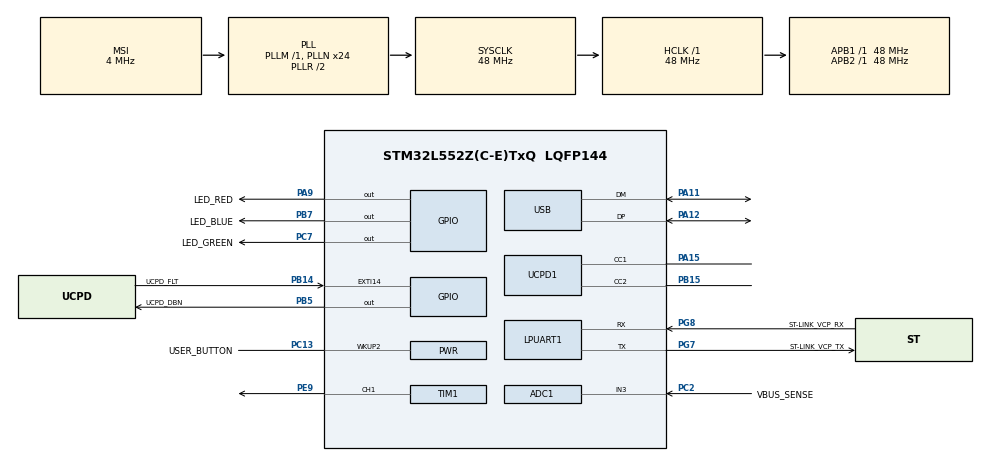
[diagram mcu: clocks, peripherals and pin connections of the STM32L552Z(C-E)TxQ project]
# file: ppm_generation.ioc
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ADC1.Channel-0\#ChannelRegularConversion=ADC_CHANNEL_3
ADC1.NbrOfConversionFlag=1
ADC1.OffsetNumber-0\#ChannelRegularConversion=ADC_OFFSET_NONE
ADC1.Rank-0\#ChannelRegularConversion=1
ADC1.SamplingTime-0\#ChannelRegularConversion=ADC_SAMPLETIME_2CYCLES_5
ADC1.master=1
Mcu.Family=STM32L5
Mcu.Name=STM32L552Z(C-E)TxQ
Mcu.Package=LQFP144
Mcu.TrustZone=disable
NVIC.PriorityGroup=NVIC_PRIORITYGROUP_3
NVIC.TIM1_UP_IRQn=true\:0\:0\:false\:false\:true\:true\:true\:true
PA11.Mode=Device
PA11.Signal=USB_DM
PA12.Mode=Device
PA12.Signal=USB_DP
PA13\ (JTMS/SWDIO).Mode=Trace_Asynchronous_SW
PA13\ (JTMS/SWDIO).Signal=DEBUG_JTMS-SWDIO
PA14\ (JTCK/SWCLK).Mode=Trace_Asynchronous_SW
PA14\ (JTCK/SWCLK).Signal=DEBUG_JTCK-SWCLK
PA15\ (JTDI).Mode=Source_AllSignals
PA15\ (JTDI).Signal=UCPD1_CC1
PA9.GPIO_Label=LED_RED
PA9.Signal=GPIO_Output
PB14.GPIO_Label=UCPD_FLT
PB14.Signal=GPXTI14
PB15.Mode=Source_AllSignals
PB15.Signal=UCPD1_CC2
PB3\ (JTDO/TRACESWO).Mode=Trace_Asynchronous_SW
PB3\ (JTDO/TRACESWO).Signal=DEBUG_JTDO-SWO
PB5.GPIO_Label=UCPD_DBN
PB5.Signal=GPIO_Output
PB7.GPIO_Label=LED_BLUE
PB7.Signal=GPIO_Output
PC13.GPIO_Label=USER_BUTTON
PC13.Mode=WakeUp1
PC13.Signal=PWR_WKUP2
PC14-OSC32_IN\ (PC14).Mode=LSE-External-Oscillator
PC14-OSC32_IN\ (PC14).Signal=RCC_OSC32_IN
PC15-OSC32_OUT\ (PC15).Mode=LSE-External-Oscillator
PC15-OSC32_OUT\ (PC15).Signal=RCC_OSC32_OUT
PC2.GPIO_Label=VBUS_SENSE
PC2.Signal=ADCx_IN3
PC7.GPIO_Label=LED_GREEN
PC7.Signal=GPIO_Output
PE9.Signal=S_TIM1_CH1
PG7.GPIO_Label=ST-LINK_VCP_TX
PG7.Mode=Asynchronous
PG7.Signal=LPUART1_TX
PG8.GPIO_Label=ST-LINK_VCP_RX
PG8.Mode=Asynchronous
PG8.Signal=LPUART1_RX
ProjectManager.HeapSize=0x200
ProjectManager.StackSize=0x400
ProjectManager.TargetToolchain=STM32CubeIDE
RCC.ADCCLockSelection=RCC_ADCCLKSOURCE_SYSCLK
RCC.ADCFreq_Value=48000000
RCC.AHBFreq_Value=48000000
RCC.APB1Freq_Value=48000000
RCC.APB1TimFreq_Value=48000000
RCC.APB2Freq_Value=48000000
RCC.APB2TimFreq_Value=48000000
RCC.CK48CLockSelection=RCC_USBCLKSOURCE_HSI48
RCC.CortexFreq_Value=48000000
RCC.HCLKFreq_Value=48000000
RCC.HSE_VALUE=8000000
RCC.HSI48_VALUE=48000000
RCC.HSI_VALUE=16000000
RCC.MSI_VALUE=4000000
RCC.PLLN=24
RCC.PLLSAI1N=24
RCC.RTCClockSelection=RCC_RTCCLKSOURCE_LSE
RCC.SYSCLKFreq_VALUE=48000000
RCC.SYSCLKSource=RCC_SYSCLKSOURCE_PLLCLK
RCC.USBFreq_Value=48000000
RCC.VCOOutputFreq_Value=96000000
SH.ADCx_IN3.0=ADC1_IN3,IN3-Single-Ended
SH.S_TIM1_CH1.0=TIM1_CH1,PWM Generation1 CH1
TIM1.Channel-PWM\ Generation1\ CH1=TIM_CHANNEL_1
TIM1.Period=64000
TIM1.Prescaler=14
VP_PWR_VS_DBSignals.Mode=DisableDeadBatterySignals
VP_RTC_VS_RTC_Activate.Mode=RTC_Enabled
VP_TIM1_VS_ClockSourceINT.Mode=Internal
board=NUCLEO-L552ZE-Q

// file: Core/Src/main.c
/* USER CODE BEGIN Header */
/**
  ******************************************************************************
  * @file           : main.c
  * @brief          : Main program body
  ******************************************************************************
  * @attention
  *
  * Copyright (c) 2023 STMicroelectronics.
  * All rights reserved.
  *
  * This software is licensed under terms that can be found in the LICENSE file
  * in the root directory of this software component.
  * If no LICENSE file comes with this software, it is provided AS-IS.
  *
  ******************************************************************************
  */
#define UNIT_TEST
/* USER CODE END Header */
#include "main.h"

ADC_HandleTypeDef hadc1;

UART_HandleTypeDef hlpuart1;

RTC_HandleTypeDef hrtc;

TIM_HandleTypeDef htim1;

PCD_HandleTypeDef hpcd_USB_FS;

/* USER CODE BEGIN PV */
uint32_t ccr_value, arr_value,arr_time;
float channel_percentage_value[channel_reserved] = {HIGH_PERC,MID_PERC,LOW_PERC,HIGH_PERC,MID_PERC,LOW_PERC,HIGH_PERC,MID_PERC,LOW_PERC,HIGH_PERC,HIGH_PERC};
uint8_t counter =0;

/* USER CODE END PV */

void SystemClock_Config(void);
static void MX_GPIO_Init(void);
static void MX_ADC1_Init(void);
static void MX_LPUART1_UART_Init(void);
static void MX_RTC_Init(void);
static void MX_UCPD1_Init(void);
static void MX_USB_PCD_Init(void);
static void MX_TIM1_Init(void);

int main(void)
{

  /* MCU Configuration--------------------------------------------------------*/

  /* Reset of all peripherals, Initializes the Flash interface and the Systick. */
  HAL_Init();

  /* Configure the system clock */
  SystemClock_Config();

  /* Initialize all configured peripherals */
  MX_GPIO_Init();
  MX_ADC1_Init();
  MX_LPUART1_UART_Init();
  MX_RTC_Init();
  MX_UCPD1_Init();
  MX_USB_PCD_Init();
  MX_TIM1_Init();
  /* USER CODE BEGIN 2 */
  HAL_TIM_PWM_Start(&htim1, TIM_CHANNEL_1);
  HAL_TIM_Base_Start_IT(&htim1);
  ccr_value = microsecs_to_counter(MIN_PULSE_WIDTH, test_PSC);
  __HAL_TIM_SET_COMPARE(&htim1, TIM_CHANNEL_1, ccr_value);
  /* USER CODE END 2 */

  /* Infinite loop */
  /* USER CODE BEGIN WHILE */
  while (1)
  {
	  ccr_value = microsecs_to_counter(MIN_PULSE_WIDTH, test_PSC);
	  __HAL_TIM_SET_COMPARE(&htim1, TIM_CHANNEL_1, ccr_value);
	  arr_value = __HAL_TIM_GET_COMPARE(&htim1, TIM_CHANNEL_1);
    /* USER CODE END WHILE */

  }
}

void SystemClock_Config(void)
{
  RCC_OscInitTypeDef RCC_OscInitStruct = {0};
  RCC_ClkInitTypeDef RCC_ClkInitStruct = {0};

  /** Configure the main internal regulator output voltage
  */
  if (HAL_PWREx_ControlVoltageScaling(PWR_REGULATOR_VOLTAGE_SCALE1) != HAL_OK)
  {
    Error_Handler();
  }

  /** Configure LSE Drive Capability
  */
  HAL_PWR_EnableBkUpAccess();
  __HAL_RCC_LSEDRIVE_CONFIG(RCC_LSEDRIVE_LOW);

  /** Initializes the RCC Oscillators according to the specified parameters
  * in the RCC_OscInitTypeDef structure.
  */
  RCC_OscInitStruct.OscillatorType = RCC_OSCILLATORTYPE_HSI48|RCC_OSCILLATORTYPE_LSE
                              |RCC_OSCILLATORTYPE_MSI;
  RCC_OscInitStruct.LSEState = RCC_LSE_ON;
  RCC_OscInitStruct.HSI48State = RCC_HSI48_ON;
  RCC_OscInitStruct.MSIState = RCC_MSI_ON;
  RCC_OscInitStruct.MSICalibrationValue = RCC_MSICALIBRATION_DEFAULT;
  RCC_OscInitStruct.MSIClockRange = RCC_MSIRANGE_6;
  RCC_OscInitStruct.PLL.PLLState = RCC_PLL_ON;
  RCC_OscInitStruct.PLL.PLLSource = RCC_PLLSOURCE_MSI;
  RCC_OscInitStruct.PLL.PLLM = 1;
  RCC_OscInitStruct.PLL.PLLN = 24;
  RCC_OscInitStruct.PLL.PLLP = RCC_PLLP_DIV7;
  RCC_OscInitStruct.PLL.PLLQ = RCC_PLLQ_DIV2;
  RCC_OscInitStruct.PLL.PLLR = RCC_PLLR_DIV2;
  if (HAL_RCC_OscConfig(&RCC_OscInitStruct) != HAL_OK)
  {
    Error_Handler();
  }

  /** Initializes the CPU, AHB and APB buses clocks
  */
  RCC_ClkInitStruct.ClockType = RCC_CLOCKTYPE_HCLK|RCC_CLOCKTYPE_SYSCLK
                              |RCC_CLOCKTYPE_PCLK1|RCC_CLOCKTYPE_PCLK2;
  RCC_ClkInitStruct.SYSCLKSource = RCC_SYSCLKSOURCE_PLLCLK;
  RCC_ClkInitStruct.AHBCLKDivider = RCC_SYSCLK_DIV1;
  RCC_ClkInitStruct.APB1CLKDivider = RCC_HCLK_DIV1;
  RCC_ClkInitStruct.APB2CLKDivider = RCC_HCLK_DIV1;

  if (HAL_RCC_ClockConfig(&RCC_ClkInitStruct, FLASH_LATENCY_2) != HAL_OK)
  {
    Error_Handler();
  }
}

static void MX_ADC1_Init(void)
{

  ADC_MultiModeTypeDef multimode = {0};
  ADC_ChannelConfTypeDef sConfig = {0};

  /** Common config
  */
  hadc1.Instance = ADC1;
  hadc1.Init.ClockPrescaler = ADC_CLOCK_ASYNC_DIV1;
  hadc1.Init.Resolution = ADC_RESOLUTION_12B;
  hadc1.Init.DataAlign = ADC_DATAALIGN_RIGHT;
  hadc1.Init.ScanConvMode = ADC_SCAN_DISABLE;
  hadc1.Init.EOCSelection = ADC_EOC_SINGLE_CONV;
  hadc1.Init.LowPowerAutoWait = DISABLE;
  hadc1.Init.ContinuousConvMode = DISABLE;
  hadc1.Init.NbrOfConversion = 1;
  hadc1.Init.DiscontinuousConvMode = DISABLE;
  hadc1.Init.ExternalTrigConv = ADC_SOFTWARE_START;
  hadc1.Init.ExternalTrigConvEdge = ADC_EXTERNALTRIGCONVEDGE_NONE;
  hadc1.Init.DMAContinuousRequests = DISABLE;
  hadc1.Init.Overrun = ADC_OVR_DATA_PRESERVED;
  hadc1.Init.OversamplingMode = DISABLE;
  if (HAL_ADC_Init(&hadc1) != HAL_OK)
  {
    Error_Handler();
  }

  /** Configure the ADC multi-mode
  */
  multimode.Mode = ADC_MODE_INDEPENDENT;
  if (HAL_ADCEx_MultiModeConfigChannel(&hadc1, &multimode) != HAL_OK)
  {
    Error_Handler();
  }

  /** Configure Regular Channel
  */
  sConfig.Channel = ADC_CHANNEL_3;
  sConfig.Rank = ADC_REGULAR_RANK_1;
  sConfig.SamplingTime = ADC_SAMPLETIME_2CYCLES_5;
  sConfig.SingleDiff = ADC_SINGLE_ENDED;
  sConfig.OffsetNumber = ADC_OFFSET_NONE;
  sConfig.Offset = 0;
  if (HAL_ADC_ConfigChannel(&hadc1, &sConfig) != HAL_OK)
  {
    Error_Handler();
  }

}

static void MX_LPUART1_UART_Init(void)
{

  hlpuart1.Instance = LPUART1;
  hlpuart1.Init.BaudRate = 209700;
  hlpuart1.Init.WordLength = UART_WORDLENGTH_8B;
  hlpuart1.Init.StopBits = UART_STOPBITS_1;
  hlpuart1.Init.Parity = UART_PARITY_NONE;
  hlpuart1.Init.Mode = UART_MODE_TX_RX;
  hlpuart1.Init.HwFlowCtl = UART_HWCONTROL_NONE;
  hlpuart1.Init.OneBitSampling = UART_ONE_BIT_SAMPLE_DISABLE;
  hlpuart1.Init.ClockPrescaler = UART_PRESCALER_DIV1;
  hlpuart1.AdvancedInit.AdvFeatureInit = UART_ADVFEATURE_NO_INIT;
  hlpuart1.FifoMode = UART_FIFOMODE_DISABLE;
  if (HAL_UART_Init(&hlpuart1) != HAL_OK)
  {
    Error_Handler();
  }
  if (HAL_UARTEx_SetTxFifoThreshold(&hlpuart1, UART_TXFIFO_THRESHOLD_1_8) != HAL_OK)
  {
    Error_Handler();
  }
  if (HAL_UARTEx_SetRxFifoThreshold(&hlpuart1, UART_RXFIFO_THRESHOLD_1_8) != HAL_OK)
  {
    Error_Handler();
  }
  if (HAL_UARTEx_DisableFifoMode(&hlpuart1) != HAL_OK)
  {
    Error_Handler();
  }

}

static void MX_RTC_Init(void)
{

  RTC_PrivilegeStateTypeDef privilegeState = {0};

  /** Initialize RTC Only
  */
  hrtc.Instance = RTC;
  hrtc.Init.HourFormat = RTC_HOURFORMAT_24;
  hrtc.Init.AsynchPrediv = 127;
  hrtc.Init.SynchPrediv = 255;
  hrtc.Init.OutPut = RTC_OUTPUT_DISABLE;
  hrtc.Init.OutPutRemap = RTC_OUTPUT_REMAP_NONE;
  hrtc.Init.OutPutPolarity = RTC_OUTPUT_POLARITY_HIGH;
  hrtc.Init.OutPutType = RTC_OUTPUT_TYPE_OPENDRAIN;
  hrtc.Init.OutPutPullUp = RTC_OUTPUT_PULLUP_NONE;
  if (HAL_RTC_Init(&hrtc) != HAL_OK)
  {
    Error_Handler();
  }
  privilegeState.rtcPrivilegeFull = RTC_PRIVILEGE_FULL_NO;
  privilegeState.backupRegisterPrivZone = RTC_PRIVILEGE_BKUP_ZONE_NONE;
  privilegeState.backupRegisterStartZone2 = RTC_BKP_DR0;
  privilegeState.backupRegisterStartZone3 = RTC_BKP_DR0;
  if (HAL_RTCEx_PrivilegeModeSet(&hrtc, &privilegeState) != HAL_OK)
  {
    Error_Handler();
  }

}

static void MX_TIM1_Init(void)
{

  TIM_ClockConfigTypeDef sClockSourceConfig = {0};
  TIM_MasterConfigTypeDef sMasterConfig = {0};
  TIM_OC_InitTypeDef sConfigOC = {0};
  TIM_BreakDeadTimeConfigTypeDef sBreakDeadTimeConfig = {0};

  htim1.Instance = TIM1;
  htim1.Init.Prescaler = 14;
  htim1.Init.CounterMode = TIM_COUNTERMODE_UP;
  htim1.Init.Period = 64000;
  htim1.Init.ClockDivision = TIM_CLOCKDIVISION_DIV1;
  htim1.Init.RepetitionCounter = 0;
  htim1.Init.AutoReloadPreload = TIM_AUTORELOAD_PRELOAD_DISABLE;
  if (HAL_TIM_Base_Init(&htim1) != HAL_OK)
  {
    Error_Handler();
  }
  sClockSourceConfig.ClockSource = TIM_CLOCKSOURCE_INTERNAL;
  if (HAL_TIM_ConfigClockSource(&htim1, &sClockSourceConfig) != HAL_OK)
  {
    Error_Handler();
  }
  if (HAL_TIM_PWM_Init(&htim1) != HAL_OK)
  {
    Error_Handler();
  }
  sMasterConfig.MasterOutputTrigger = TIM_TRGO_RESET;
  sMasterConfig.MasterOutputTrigger2 = TIM_TRGO2_RESET;
  sMasterConfig.MasterSlaveMode = TIM_MASTERSLAVEMODE_DISABLE;
  if (HAL_TIMEx_MasterConfigSynchronization(&htim1, &sMasterConfig) != HAL_OK)
  {
    Error_Handler();
  }
  sConfigOC.OCMode = TIM_OCMODE_PWM1;
  sConfigOC.Pulse = 0;
  sConfigOC.OCPolarity = TIM_OCPOLARITY_HIGH;
  sConfigOC.OCNPolarity = TIM_OCNPOLARITY_HIGH;
  sConfigOC.OCFastMode = TIM_OCFAST_DISABLE;
  sConfigOC.OCIdleState = TIM_OCIDLESTATE_RESET;
  sConfigOC.OCNIdleState = TIM_OCNIDLESTATE_RESET;
  if (HAL_TIM_PWM_ConfigChannel(&htim1, &sConfigOC, TIM_CHANNEL_1) != HAL_OK)
  {
    Error_Handler();
  }
  sBreakDeadTimeConfig.OffStateRunMode = TIM_OSSR_DISABLE;
  sBreakDeadTimeConfig.OffStateIDLEMode = TIM_OSSI_DISABLE;
  sBreakDeadTimeConfig.LockLevel = TIM_LOCKLEVEL_OFF;
  sBreakDeadTimeConfig.DeadTime = 0;
  sBreakDeadTimeConfig.BreakState = TIM_BREAK_DISABLE;
  sBreakDeadTimeConfig.BreakPolarity = TIM_BREAKPOLARITY_HIGH;
  sBreakDeadTimeConfig.BreakFilter = 0;
  sBreakDeadTimeConfig.BreakAFMode = TIM_BREAK_AFMODE_INPUT;
  sBreakDeadTimeConfig.Break2State = TIM_BREAK2_DISABLE;
  sBreakDeadTimeConfig.Break2Polarity = TIM_BREAK2POLARITY_HIGH;
  sBreakDeadTimeConfig.Break2Filter = 0;
  sBreakDeadTimeConfig.Break2AFMode = TIM_BREAK_AFMODE_INPUT;
  sBreakDeadTimeConfig.AutomaticOutput = TIM_AUTOMATICOUTPUT_DISABLE;
  if (HAL_TIMEx_ConfigBreakDeadTime(&htim1, &sBreakDeadTimeConfig) != HAL_OK)
  {
    Error_Handler();
  }
  HAL_TIM_MspPostInit(&htim1);

}

static void MX_UCPD1_Init(void)
{

  LL_GPIO_InitTypeDef GPIO_InitStruct = {0};

  /* Peripheral clock enable */
  LL_APB1_GRP2_EnableClock(LL_APB1_GRP2_PERIPH_UCPD1);

  LL_AHB2_GRP1_EnableClock(LL_AHB2_GRP1_PERIPH_GPIOB);
  LL_AHB2_GRP1_EnableClock(LL_AHB2_GRP1_PERIPH_GPIOA);
  /**UCPD1 GPIO Configuration
  PB15   ------> UCPD1_CC2
  PA15 (JTDI)   ------> UCPD1_CC1
  */
  GPIO_InitStruct.Pin = LL_GPIO_PIN_15;
  GPIO_InitStruct.Mode = LL_GPIO_MODE_ANALOG;
  GPIO_InitStruct.Pull = LL_GPIO_PULL_NO;
  LL_GPIO_Init(GPIOB, &GPIO_InitStruct);

  GPIO_InitStruct.Pin = LL_GPIO_PIN_15;
  GPIO_InitStruct.Mode = LL_GPIO_MODE_ANALOG;
  GPIO_InitStruct.Pull = LL_GPIO_PULL_NO;
  LL_GPIO_Init(GPIOA, &GPIO_InitStruct);

}

static void MX_USB_PCD_Init(void)
{

  hpcd_USB_FS.Instance = USB;
  hpcd_USB_FS.Init.dev_endpoints = 8;
  hpcd_USB_FS.Init.speed = PCD_SPEED_FULL;
  hpcd_USB_FS.Init.phy_itface = PCD_PHY_EMBEDDED;
  hpcd_USB_FS.Init.Sof_enable = DISABLE;
  hpcd_USB_FS.Init.low_power_enable = DISABLE;
  hpcd_USB_FS.Init.lpm_enable = DISABLE;
  hpcd_USB_FS.Init.battery_charging_enable = DISABLE;
  if (HAL_PCD_Init(&hpcd_USB_FS) != HAL_OK)
  {
    Error_Handler();
  }

}

static void MX_GPIO_Init(void)
{
  GPIO_InitTypeDef GPIO_InitStruct = {0};

  /* GPIO Ports Clock Enable */
  __HAL_RCC_GPIOC_CLK_ENABLE();
  __HAL_RCC_GPIOE_CLK_ENABLE();
  __HAL_RCC_GPIOB_CLK_ENABLE();
  __HAL_RCC_GPIOG_CLK_ENABLE();
  HAL_PWREx_EnableVddIO2();
  __HAL_RCC_GPIOA_CLK_ENABLE();

  /*Configure GPIO pin Output Level */
  HAL_GPIO_WritePin(LED_GREEN_GPIO_Port, LED_GREEN_Pin, GPIO_PIN_RESET);

  /*Configure GPIO pin Output Level */
  HAL_GPIO_WritePin(LED_RED_GPIO_Port, LED_RED_Pin, GPIO_PIN_RESET);

  /*Configure GPIO pin Output Level */
  HAL_GPIO_WritePin(GPIOB, UCPD_DBN_Pin|LED_BLUE_Pin, GPIO_PIN_RESET);

  /*Configure GPIO pin : UCPD_FLT_Pin */
  GPIO_InitStruct.Pin = UCPD_FLT_Pin;
  GPIO_InitStruct.Mode = GPIO_MODE_IT_RISING;
  GPIO_InitStruct.Pull = GPIO_NOPULL;
  HAL_GPIO_Init(UCPD_FLT_GPIO_Port, &GPIO_InitStruct);

  /*Configure GPIO pin : LED_GREEN_Pin */
  GPIO_InitStruct.Pin = LED_GREEN_Pin;
  GPIO_InitStruct.Mode = GPIO_MODE_OUTPUT_PP;
  GPIO_InitStruct.Pull = GPIO_NOPULL;
  GPIO_InitStruct.Speed = GPIO_SPEED_FREQ_LOW;
  HAL_GPIO_Init(LED_GREEN_GPIO_Port, &GPIO_InitStruct);

  /*Configure GPIO pin : LED_RED_Pin */
  GPIO_InitStruct.Pin = LED_RED_Pin;
  GPIO_InitStruct.Mode = GPIO_MODE_OUTPUT_PP;
  GPIO_InitStruct.Pull = GPIO_NOPULL;
  GPIO_InitStruct.Speed = GPIO_SPEED_FREQ_LOW;
  HAL_GPIO_Init(LED_RED_GPIO_Port, &GPIO_InitStruct);

  /*Configure GPIO pins : UCPD_DBN_Pin LED_BLUE_Pin */
  GPIO_InitStruct.Pin = UCPD_DBN_Pin|LED_BLUE_Pin;
  GPIO_InitStruct.Mode = GPIO_MODE_OUTPUT_PP;
  GPIO_InitStruct.Pull = GPIO_NOPULL;
  GPIO_InitStruct.Speed = GPIO_SPEED_FREQ_LOW;
  HAL_GPIO_Init(GPIOB, &GPIO_InitStruct);

}

/* USER CODE BEGIN 4 */
void HAL_TIM_PeriodElapsedCallback(TIM_HandleTypeDef *htim)
{
  // Check which version of the timer triggered this callback and toggle LED
	if (counter < channel_used) {
		arr_time = percentage_arr(channel_percentage_value[counter]);
		counter ++;
	} else {
		arr_time = reset_sync();
		counter = 0;
	}
	arr_value = microsecs_to_counter(arr_time, test_PSC);
	__HAL_TIM_SET_AUTORELOAD(&htim1, arr_value);
}
/* USER CODE END 4 */

void Error_Handler(void)
{
  __disable_irq();
  while (1)
  {
  }
}
